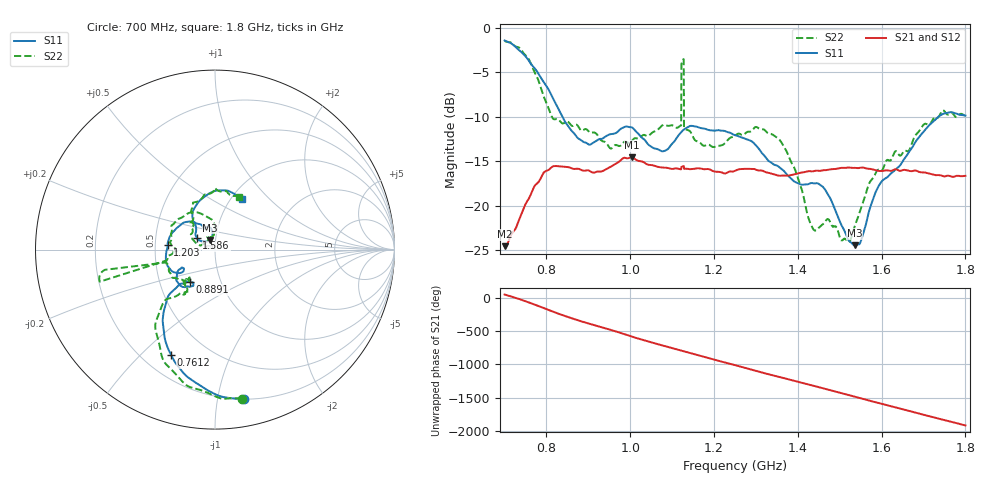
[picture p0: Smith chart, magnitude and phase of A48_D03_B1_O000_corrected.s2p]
! Created with skrf 1.9.0 (http://scikit-rf.org).
# Hz S RI R 50.0
!freq ReS11 ImS11 ReS21 ImS21 ReS12 ImS12 ReS22 ImS22
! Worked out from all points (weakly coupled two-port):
!   1601 points, 700 MHz to 1.8 GHz, reference 50 ohm
!   highest |S21| = -14.55 dB at 1.005 GHz (marker M1); lowest = -24.5 dB at 701.4 MHz (marker M2)
!   lowest |S11| = -24.5 dB at 1.536 GHz (marker M3), VSWR 1.13, Z = 47.1 + j5.02 ohm
!   |S11| at or under -10 dB: 838 MHz to 1.735 GHz (897.4 MHz wide, 69.7 % of centre)
!   |S22| runs from -24.1 to -1.5 dB; largest |S21 - S12| = 0.0035
!   S11 on the Smith chart (normalised r, x): 700 MHz: 0.20, -1.19; 761.2 MHz: 0.31, -0.62; 889.1 MHz: 0.71, -0.27; 1.203 GHz: 0.58, +0.03; 1.586 GHz: 0.81, +0.11; 1.8 GHz: 1.12, +0.71
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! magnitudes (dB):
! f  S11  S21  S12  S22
! 700 MHz  -1.4  -24.5  -24.3  -1.5
! 701.4 MHz  -1.5  -24.5  -24.2  -1.5
! 761.2 MHz  -3.9  -18.9  -18.8  -3.9
! 814.8 MHz  -7.9  -15.6  -15.7  -10.2
! 883.6 MHz  -12.7  -16.0  -15.9  -11.5
! 889.1 MHz  -12.8  -16.1  -16.0  -11.5
! 1.005 GHz  -11.2  -14.5  -14.7  -12.7
! 1.067 GHz  -13.7  -15.6  -15.6  -11.4
! 1.116 GHz  -12.0  -15.9  -15.9  -11.1
! 1.123 GHz  -11.6  -15.6  -15.5  -3.8
! 1.128 GHz  -11.4  -15.5  -15.6  -3.5
! 1.134 GHz  -11.3  -15.8  -15.9  -11.4
! 1.203 GHz  -11.6  -16.2  -16.2  -13.4
! 1.25 GHz  -12.1  -16.1  -16.0  -12.1
! 1.357 GHz  -15.7  -16.6  -16.6  -12.6
! 1.434 GHz  -17.4  -16.1  -16.1  -22.4
! 1.52 GHz  -23.8  -15.7  -15.7  -24.1
! 1.536 GHz  -24.5  -15.7  -15.8  -22.3
! 1.586 GHz  -18.4  -16.0  -16.0  -16.3
! 1.617 GHz  -16.6  -16.0  -16.0  -14.9
! 1.737 GHz  -9.9  -16.6  -16.6  -10.0
! 1.8 GHz  -9.9  -16.6  -16.6  -9.9
